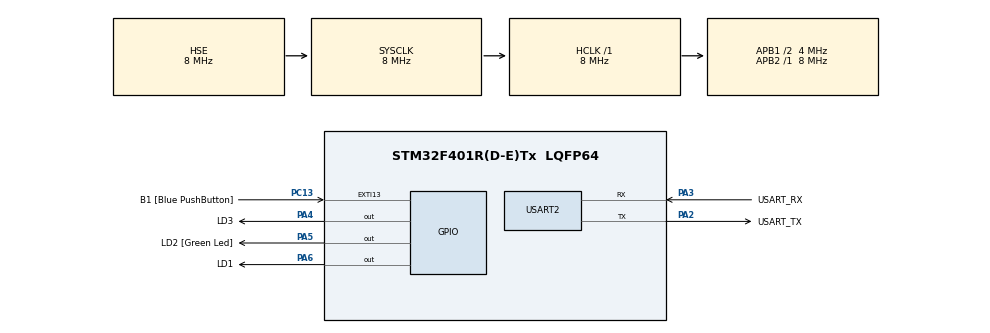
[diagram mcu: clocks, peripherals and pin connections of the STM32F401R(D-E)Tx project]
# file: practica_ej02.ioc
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Mcu.Family=STM32F4
Mcu.Name=STM32F401R(D-E)Tx
Mcu.Package=LQFP64
NVIC.EXTI15_10_IRQn=true\:0\:0\:false\:false\:true\:true\:true\:true
NVIC.PriorityGroup=NVIC_PRIORITYGROUP_0
PA13.GPIO_Label=TMS
PA13.Mode=Serial_Wire
PA13.Signal=SYS_JTMS-SWDIO
PA14.GPIO_Label=TCK
PA14.Mode=Serial_Wire
PA14.Signal=SYS_JTCK-SWCLK
PA2.GPIO_Label=USART_TX
PA2.GPIO_Mode=GPIO_MODE_AF_PP
PA2.GPIO_PuPd=GPIO_NOPULL
PA2.GPIO_Speed=GPIO_SPEED_FREQ_LOW
PA2.Mode=Asynchronous
PA2.Signal=USART2_TX
PA3.GPIO_Label=USART_RX
PA3.GPIO_Mode=GPIO_MODE_AF_PP
PA3.GPIO_PuPd=GPIO_NOPULL
PA3.GPIO_Speed=GPIO_SPEED_FREQ_LOW
PA3.Mode=Asynchronous
PA3.Signal=USART2_RX
PA4.GPIO_Label=LD3
PA4.Signal=GPIO_Output
PA5.GPIO_Label=LD2 [Green Led]
PA5.GPIO_Mode=GPIO_MODE_OUTPUT_PP
PA5.GPIO_PuPd=GPIO_NOPULL
PA5.GPIO_Speed=GPIO_SPEED_FREQ_LOW
PA5.Signal=GPIO_Output
PA6.GPIO_Label=LD1
PA6.Signal=GPIO_Output
PB3.GPIO_Label=SWO
PB3.Signal=SYS_JTDO-SWO
PC13-ANTI_TAMP.GPIO_Label=B1 [Blue PushButton]
PC13-ANTI_TAMP.GPIO_ModeDefaultEXTI=GPIO_MODE_IT_FALLING
PC13-ANTI_TAMP.GPIO_PuPd=GPIO_NOPULL
PC13-ANTI_TAMP.Signal=GPXTI13
PC14-OSC32_IN.Signal=RCC_OSC32_IN
PC15-OSC32_OUT.Signal=RCC_OSC32_OUT
PH0\ -\ OSC_IN.Mode=HSE-External-Oscillator
PH0\ -\ OSC_IN.Signal=RCC_OSC_IN
PH1\ -\ OSC_OUT.Mode=HSE-External-Oscillator
PH1\ -\ OSC_OUT.Signal=RCC_OSC_OUT
ProjectManager.HeapSize=0x200
ProjectManager.StackSize=0x400
ProjectManager.TargetToolchain=STM32CubeIDE
RCC.48MHZClocksFreq_Value=14285714.285714285
RCC.AHBFreq_Value=8000000
RCC.APB1CLKDivider=RCC_HCLK_DIV2
RCC.APB1Freq_Value=4000000
RCC.APB1TimFreq_Value=8000000
RCC.APB2Freq_Value=8000000
RCC.APB2TimFreq_Value=8000000
RCC.CortexFreq_Value=8000000
RCC.HCLKFreq_Value=8000000
RCC.HSE_VALUE=8000000
RCC.HSI_VALUE=16000000
RCC.LSE_VALUE=32768
RCC.PLLM=8
RCC.PLLN=100
RCC.PLLQ=7
RCC.PLLSourceVirtual=RCC_PLLSOURCE_HSE
RCC.SYSCLKFreq_VALUE=8000000
RCC.SYSCLKSource=RCC_SYSCLKSOURCE_HSE
RCC.VCOOutputFreq_Value=100000000
USART2.VirtualMode=VM_ASYNC
board=NUCLEO-F401RE

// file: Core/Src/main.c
/* USER CODE BEGIN Header */
/**
  ******************************************************************************
  * @file           : main.c
  * @brief          : Main program body
  ******************************************************************************
  * @attention
  *
  * Copyright (c) 2024 STMicroelectronics.
  * All rights reserved.
  *
  * This software is licensed under terms that can be found in the LICENSE file
  * in the root directory of this software component.
  * If no LICENSE file comes with this software, it is provided AS-IS.
  *
  ******************************************************************************
  */
/* USER CODE END Header */
#include "main.h"

/* USER CODE BEGIN PD */
#define HALF_PERIOD_DURATION 100
/* USER CODE END PD */

UART_HandleTypeDef huart2;

void SystemClock_Config(void);
static void MX_GPIO_Init(void);
static void MX_USART2_UART_Init(void);

int main(void)
{

  /* MCU Configuration--------------------------------------------------------*/

  /* Reset of all peripherals, Initializes the Flash interface and the Systick. */
  HAL_Init();

  /* Configure the system clock */
  SystemClock_Config();

  /* Initialize all configured peripherals */
  MX_GPIO_Init();
  MX_USART2_UART_Init();

  /* Infinite loop */
  /* USER CODE BEGIN WHILE */

  delay_t delayStruct = { 0 };
  tick_t delayTime = (tick_t)HALF_PERIOD_DURATION;
  DelayInit(&delayStruct, delayTime);

  while (1)
  {

	  if ( DelayRead(&delayStruct) )
		  HAL_GPIO_TogglePin(GPIOA, LD1_Pin | LD2_Pin | LD3_Pin);

    /* USER CODE END WHILE */

  }
}

void SystemClock_Config(void)
{
  RCC_OscInitTypeDef RCC_OscInitStruct = {0};
  RCC_ClkInitTypeDef RCC_ClkInitStruct = {0};

  /** Configure the main internal regulator output voltage
  */
  __HAL_RCC_PWR_CLK_ENABLE();
  __HAL_PWR_VOLTAGESCALING_CONFIG(PWR_REGULATOR_VOLTAGE_SCALE2);

  /** Initializes the RCC Oscillators according to the specified parameters
  * in the RCC_OscInitTypeDef structure.
  */
  RCC_OscInitStruct.OscillatorType = RCC_OSCILLATORTYPE_HSE;
  RCC_OscInitStruct.HSEState = RCC_HSE_ON;
  RCC_OscInitStruct.PLL.PLLState = RCC_PLL_NONE;
  if (HAL_RCC_OscConfig(&RCC_OscInitStruct) != HAL_OK)
  {
    Error_Handler();
  }

  /** Initializes the CPU, AHB and APB buses clocks
  */
  RCC_ClkInitStruct.ClockType = RCC_CLOCKTYPE_HCLK|RCC_CLOCKTYPE_SYSCLK
                              |RCC_CLOCKTYPE_PCLK1|RCC_CLOCKTYPE_PCLK2;
  RCC_ClkInitStruct.SYSCLKSource = RCC_SYSCLKSOURCE_HSE;
  RCC_ClkInitStruct.AHBCLKDivider = RCC_SYSCLK_DIV1;
  RCC_ClkInitStruct.APB1CLKDivider = RCC_HCLK_DIV2;
  RCC_ClkInitStruct.APB2CLKDivider = RCC_HCLK_DIV1;

  if (HAL_RCC_ClockConfig(&RCC_ClkInitStruct, FLASH_LATENCY_0) != HAL_OK)
  {
    Error_Handler();
  }
}

static void MX_USART2_UART_Init(void)
{

  huart2.Instance = USART2;
  huart2.Init.BaudRate = 115200;
  huart2.Init.WordLength = UART_WORDLENGTH_8B;
  huart2.Init.StopBits = UART_STOPBITS_1;
  huart2.Init.Parity = UART_PARITY_NONE;
  huart2.Init.Mode = UART_MODE_TX_RX;
  huart2.Init.HwFlowCtl = UART_HWCONTROL_NONE;
  huart2.Init.OverSampling = UART_OVERSAMPLING_16;
  if (HAL_UART_Init(&huart2) != HAL_OK)
  {
    Error_Handler();
  }

}

static void MX_GPIO_Init(void)
{
  GPIO_InitTypeDef GPIO_InitStruct = {0};

  /* GPIO Ports Clock Enable */
  __HAL_RCC_GPIOC_CLK_ENABLE();
  __HAL_RCC_GPIOH_CLK_ENABLE();
  __HAL_RCC_GPIOA_CLK_ENABLE();
  __HAL_RCC_GPIOB_CLK_ENABLE();

  /*Configure GPIO pin Output Level */
  HAL_GPIO_WritePin(GPIOA, LD3_Pin|LD2_Pin|LD1_Pin, GPIO_PIN_RESET);

  /*Configure GPIO pin : B1_Pin */
  GPIO_InitStruct.Pin = B1_Pin;
  GPIO_InitStruct.Mode = GPIO_MODE_IT_FALLING;
  GPIO_InitStruct.Pull = GPIO_NOPULL;
  HAL_GPIO_Init(B1_GPIO_Port, &GPIO_InitStruct);

  /*Configure GPIO pins : LD3_Pin LD2_Pin LD1_Pin */
  GPIO_InitStruct.Pin = LD3_Pin|LD2_Pin|LD1_Pin;
  GPIO_InitStruct.Mode = GPIO_MODE_OUTPUT_PP;
  GPIO_InitStruct.Pull = GPIO_NOPULL;
  GPIO_InitStruct.Speed = GPIO_SPEED_FREQ_LOW;
  HAL_GPIO_Init(GPIOA, &GPIO_InitStruct);

  /* EXTI interrupt init*/
  HAL_NVIC_SetPriority(EXTI15_10_IRQn, 0, 0);
  HAL_NVIC_EnableIRQ(EXTI15_10_IRQn);

}

/* USER CODE BEGIN 4 */
void DelayInit( delay_t * delay, tick_t duration )
{
	// Validate that a pointer is received as a parameter
	if ( delay == NULL ) return;
	// The structure is initialized with the delay values
	delay -> duration = duration;
	delay -> running = false;
}
bool_t DelayRead( delay_t * delay )
{
	// Validate that a pointer is received as a parameter
	if ( delay == NULL ) return false;

	tick_t timestamp = HAL_GetTick();

	if (delay -> running != true)
	{
		delay -> running = true;
		delay -> startTime = timestamp;
		return false;
	}else if ( timestamp - delay -> startTime >= delay -> duration)
	{
		delay -> running = false;
		return true;
	} else return false;

}
void DelayWrite( delay_t * delay, tick_t duration )
{
	// Validate that a pointer is received as a parameter
	if ( delay == NULL ) return;

	delay -> duration = duration;
}
/* USER CODE END 4 */

void Error_Handler(void)
{
  __disable_irq();
  while (1)
  {
  }
}
